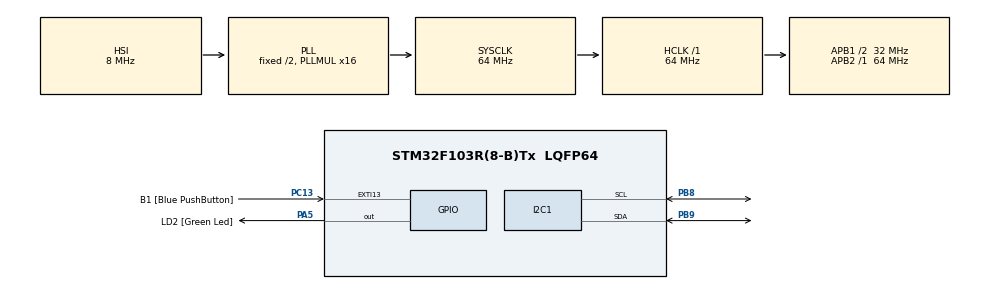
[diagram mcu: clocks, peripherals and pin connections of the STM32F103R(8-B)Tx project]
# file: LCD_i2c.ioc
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Mcu.Family=STM32F1
Mcu.Name=STM32F103R(8-B)Tx
Mcu.Package=LQFP64
NVIC.EXTI15_10_IRQn=true\:0\:0\:false\:false\:true\:true
NVIC.PriorityGroup=NVIC_PRIORITYGROUP_4
PA13.GPIO_Label=TMS
PA13.Mode=Serial_Wire
PA13.Signal=SYS_JTMS-SWDIO
PA14.GPIO_Label=TCK
PA14.Mode=Serial_Wire
PA14.Signal=SYS_JTCK-SWCLK
PA2.GPIO_Label=USART_TX
PA2.GPIO_Mode=GPIO_MODE_AF_PP
PA2.GPIO_PuPd=GPIO_NOPULL
PA2.GPIO_Speed=GPIO_SPEED_FREQ_LOW
PA2.Signal=USART2_TX
PA3.GPIO_Label=USART_RX
PA3.GPIO_Mode=GPIO_MODE_AF_PP
PA3.GPIO_PuPd=GPIO_NOPULL
PA3.GPIO_Speed=GPIO_SPEED_FREQ_LOW
PA3.Signal=USART2_RX
PA5.GPIO_Label=LD2 [Green Led]
PA5.GPIO_ModeDefaultOutputPP=GPIO_MODE_OUTPUT_PP
PA5.GPIO_PuPd=GPIO_NOPULL
PA5.GPIO_Speed=GPIO_SPEED_FREQ_LOW
PA5.Signal=GPIO_Output
PB3.GPIO_Label=SWO
PB3.Signal=SYS_JTDO-TRACESWO
PB8.Mode=I2C
PB8.Signal=I2C1_SCL
PB9.Mode=I2C
PB9.Signal=I2C1_SDA
PC13-TAMPER-RTC.GPIO_Label=B1 [Blue PushButton]
PC13-TAMPER-RTC.GPIO_ModeDefaultEXTI=GPIO_MODE_IT_FALLING
PC13-TAMPER-RTC.GPIO_PuPd=GPIO_NOPULL
PC13-TAMPER-RTC.Signal=GPXTI13
PC14-OSC32_IN.Signal=RCC_OSC32_IN
PC15-OSC32_OUT.Signal=RCC_OSC32_OUT
PD0-OSC_IN.Signal=RCC_OSC_IN
PD1-OSC_OUT.Signal=RCC_OSC_OUT
ProjectManager.HeapSize=0x200
ProjectManager.StackSize=0x400
ProjectManager.TargetToolchain=TrueSTUDIO
RCC.AHBFreq_Value=64000000
RCC.APB1CLKDivider=RCC_HCLK_DIV2
RCC.APB1Freq_Value=32000000
RCC.APB1TimFreq_Value=64000000
RCC.APB2Freq_Value=64000000
RCC.APB2TimFreq_Value=64000000
RCC.HCLKFreq_Value=64000000
RCC.PLLMUL=RCC_PLL_MUL16
RCC.SYSCLKFreq_VALUE=64000000
RCC.SYSCLKSource=RCC_SYSCLKSOURCE_PLLCLK
RCC.USBFreq_Value=64000000
board=NUCLEO-F103RB

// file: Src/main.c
/* USER CODE BEGIN Header */
/**
  ******************************************************************************
  * @file           : main.c
  * @brief          : Main program body
  ******************************************************************************
  ** This notice applies to any and all portions of this file
  * that are not between comment pairs USER CODE BEGIN and
  * USER CODE END. Other portions of this file, whether
  * inserted by the user or by software development tools
  * are owned by their respective copyright owners.
  *
  * COPYRIGHT(c) 2019 STMicroelectronics
  *
  * Redistribution and use in source and binary forms, with or without modification,
  * are permitted provided that the following conditions are met:
  *   1. Redistributions of source code must retain the above copyright notice,
  *      this list of conditions and the following disclaimer.
  *   2. Redistributions in binary form must reproduce the above copyright notice,
  *      this list of conditions and the following disclaimer in the documentation
  *      and/or other materials provided with the distribution.
  *   3. Neither the name of STMicroelectronics nor the names of its contributors
  *      may be used to endorse or promote products derived from this software
  *      without specific prior written permission.
  *
  * THIS SOFTWARE IS PROVIDED BY THE COPYRIGHT HOLDERS AND CONTRIBUTORS "AS IS"
  * AND ANY EXPRESS OR IMPLIED WARRANTIES, INCLUDING, BUT NOT LIMITED TO, THE
  * IMPLIED WARRANTIES OF MERCHANTABILITY AND FITNESS FOR A PARTICULAR PURPOSE ARE
  * DISCLAIMED. IN NO EVENT SHALL THE COPYRIGHT HOLDER OR CONTRIBUTORS BE LIABLE
  * FOR ANY DIRECT, INDIRECT, INCIDENTAL, SPECIAL, EXEMPLARY, OR CONSEQUENTIAL
  * DAMAGES (INCLUDING, BUT NOT LIMITED TO, PROCUREMENT OF SUBSTITUTE GOODS OR
  * SERVICES; LOSS OF USE, DATA, OR PROFITS; OR BUSINESS INTERRUPTION) HOWEVER
  * CAUSED AND ON ANY THEORY OF LIABILITY, WHETHER IN CONTRACT, STRICT LIABILITY,
  * OR TORT (INCLUDING NEGLIGENCE OR OTHERWISE) ARISING IN ANY WAY OUT OF THE USE
  * OF THIS SOFTWARE, EVEN IF ADVISED OF THE POSSIBILITY OF SUCH DAMAGE.
  *
  ******************************************************************************
  */
/* USER CODE END Header */

#include "main.h"
#include "i2c.h"
#include "gpio.h"

/* USER CODE BEGIN Includes */
#include "stdio.h"
#include "stdlib.h"
/* USER CODE END Includes */

void SystemClock_Config(void);

/* USER CODE BEGIN 0 */

#include <string.h>

#define LCD_ADDR (0x27 << 1)	// A0 A1 A2 HEX Address
								//	1 1 1 0x27
								//	0 1 1 0x26
								//	1 0 1 0x25
								//	0 0 1 0x24
								//	1 1 0 0x23
								//	0 1 0 0x22
								//	1 0 0 0x21
								//	0 0 0 0x20

#define PIN_RS    (1 << 0)
#define PIN_EN    (1 << 2)
#define BACKLIGHT (1 << 3)

#define LCD_DELAY_MS 5

#ifdef DEBUG
  printf ( "[ INFO ] Program start now\n" );
#endif

//****************************

HAL_StatusTypeDef LCD_SendInternal(uint8_t lcd_addr, uint8_t data, uint8_t flags) {
    HAL_StatusTypeDef res;
    for(;;) {
        res = HAL_I2C_IsDeviceReady(&hi2c1, lcd_addr, 1, HAL_MAX_DELAY);
        if(res == HAL_OK)
            break;
    }

    uint8_t up = data & 0xF0;
    uint8_t lo = (data << 4) & 0xF0;

    uint8_t data_arr[4];
    data_arr[0] = up|flags|BACKLIGHT|PIN_EN;
    data_arr[1] = up|flags|BACKLIGHT;
    data_arr[2] = lo|flags|BACKLIGHT|PIN_EN;
    data_arr[3] = lo|flags|BACKLIGHT;

    res = HAL_I2C_Master_Transmit(&hi2c1, lcd_addr, data_arr, sizeof(data_arr), HAL_MAX_DELAY);
    HAL_Delay(LCD_DELAY_MS);
    return res;
}

void LCD_SendCommand(uint8_t lcd_addr, uint8_t cmd) {
    LCD_SendInternal(lcd_addr, cmd, 0);
}

void LCD_SendData(uint8_t lcd_addr, uint8_t data) {
    LCD_SendInternal(lcd_addr, data, PIN_RS);
}

void LCD_Init(uint8_t lcd_addr) {

    LCD_SendCommand(lcd_addr, 0b00110000);  //*
    LCD_SendCommand(lcd_addr, 0b00110000);  //*
    LCD_SendCommand(lcd_addr, 0b00110000);  //*
    LCD_SendCommand(lcd_addr, 0b00100000);  //*

    // 4-bit mode, 2 lines, 5x7 format
    LCD_SendCommand(lcd_addr, 0b00110000);
    // display & cursor home (keep this!)
    LCD_SendCommand(lcd_addr, 0b00000010);
    // display on, right shift, underline off, blink off
    LCD_SendCommand(lcd_addr, 0b00001100);
    // clear display (optional here)
    LCD_SendCommand(lcd_addr, 0b00000001);
}

void LCD_SendString(uint8_t lcd_addr, char *str) {
    while(*str) {
        LCD_SendData(lcd_addr, (uint8_t)(*str));
        str++;
    }
}

void I2C_Scan() {
   printf ( "Scanning I2C bus...\r\n");
   // HAL_UART_Transmit(&huart2, (uint8_t*)info, strlen(info), HAL_MAX_DELAY);

    HAL_StatusTypeDef res;
    for(uint8_t i = 0; i < 128; i++) {
        res = HAL_I2C_IsDeviceReady(&hi2c1, i << 1, 1, 10);
        printf ( "[ INFO ] i = %d\r\n", i);
        if(res == HAL_OK) {

        	printf ( "[ INFO ] HAL_OK now i = %d\r\n", i);

        	LCD_Init(i << 1);
        	LCD_SendCommand(i << 1, 0b10000000);
        	char string[3] = "";
        	LCD_SendString(i << 1, itoa(i, string, 10));

            //char msg[64];
            //snprintf(msg, sizeof(msg), "0x%02X", i);
            //HAL_UART_Transmit(&huart2, (uint8_t*)msg, strlen(msg), HAL_MAX_DELAY);
        } /*else {
            HAL_UART_Transmit(&huart2, (uint8_t*)".", 1, HAL_MAX_DELAY);
        }*/
    }

//    HAL_UART_Transmit(&huart2, (uint8_t*)"\r\n", 2, HAL_MAX_DELAY);
}

void init() {

//#ifdef DEBUG
  printf ( "[ INFO ] init start\n");
//#endif
//    I2C_Scan();
    LCD_Init(LCD_ADDR);

    // set address to 0x00
    LCD_SendCommand(LCD_ADDR, 0b10000000);
    LCD_SendString(LCD_ADDR, " Using 1602 LCD");

    // set address to 0x40
    LCD_SendCommand(LCD_ADDR, 0b11000000);
    LCD_SendString(LCD_ADDR, "0123456789+-*/;:");
}

void loop() {
    HAL_Delay(100);
}
/* USER CODE END 0 */

int main(void)
{

  /* MCU Configuration--------------------------------------------------------*/

  /* Reset of all peripherals, Initializes the Flash interface and the Systick. */
  HAL_Init();

  /* Configure the system clock */
  SystemClock_Config();

  /* Initialize all configured peripherals */
  MX_GPIO_Init();
  MX_I2C1_Init();

  /* Infinite loop */
  /* USER CODE BEGIN WHILE */
  init();
  while (1)
  {
	loop();
	printf ( "[ INFO ] while\n");
	/* USER CODE END WHILE */

  }
}

void SystemClock_Config(void)
{
  RCC_OscInitTypeDef RCC_OscInitStruct = {0};
  RCC_ClkInitTypeDef RCC_ClkInitStruct = {0};

  /**Initializes the CPU, AHB and APB busses clocks
  */
  RCC_OscInitStruct.OscillatorType = RCC_OSCILLATORTYPE_HSI;
  RCC_OscInitStruct.HSIState = RCC_HSI_ON;
  RCC_OscInitStruct.HSICalibrationValue = RCC_HSICALIBRATION_DEFAULT;
  RCC_OscInitStruct.PLL.PLLState = RCC_PLL_ON;
  RCC_OscInitStruct.PLL.PLLSource = RCC_PLLSOURCE_HSI_DIV2;
  RCC_OscInitStruct.PLL.PLLMUL = RCC_PLL_MUL16;
  if (HAL_RCC_OscConfig(&RCC_OscInitStruct) != HAL_OK)
  {
    Error_Handler();
  }
  /**Initializes the CPU, AHB and APB busses clocks
  */
  RCC_ClkInitStruct.ClockType = RCC_CLOCKTYPE_HCLK|RCC_CLOCKTYPE_SYSCLK
                              |RCC_CLOCKTYPE_PCLK1|RCC_CLOCKTYPE_PCLK2;
  RCC_ClkInitStruct.SYSCLKSource = RCC_SYSCLKSOURCE_PLLCLK;
  RCC_ClkInitStruct.AHBCLKDivider = RCC_SYSCLK_DIV1;
  RCC_ClkInitStruct.APB1CLKDivider = RCC_HCLK_DIV2;
  RCC_ClkInitStruct.APB2CLKDivider = RCC_HCLK_DIV1;

  if (HAL_RCC_ClockConfig(&RCC_ClkInitStruct, FLASH_LATENCY_2) != HAL_OK)
  {
    Error_Handler();
  }
}

void Error_Handler(void)
{
}

/************************ (C) COPYRIGHT STMicroelectronics *****END OF FILE****/
